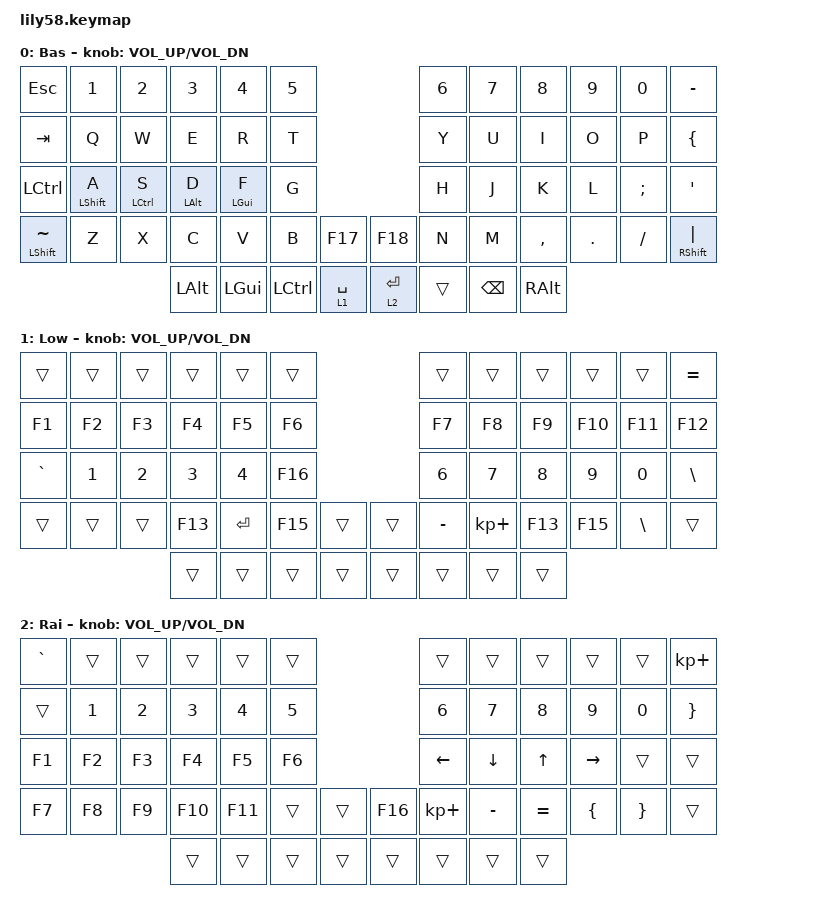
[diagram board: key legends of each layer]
/*
 * Copyright (c) 2020 The ZMK Contributors
 *
 * SPDX-License-Identifier: MIT
 */

#include <behaviors.dtsi>
#include <dt-bindings/zmk/keys.h>
#include <dt-bindings/zmk/bt.h>

/ {
    behaviors {
        // tap = кнопка, hold = слой; idle-защита от случайного hold при наборе
        lt_ht: lt_ht {
            compatible = "zmk,behavior-hold-tap";
            #binding-cells = <2>;
            flavor = "balanced";
            tapping-term-ms = <200>;
            quick-tap-ms = <175>;
            require-prior-idle-ms = <150>;
            bindings = <&mo>, <&kp>;
        };

        // Shift с символом: hold = модификатор (1-й arg), tap = символ (2-й arg).
        // В keymap: `&mt_shft LSHFT TILDE` слева, `&mt_shft RSHFT PIPE` справа.
        // tapping-term=180 — компромисс: solo tap → символ за ≤180ms, ускоренное решение если печатаешь дальше.
        mt_shft: magic_shift {
            compatible = "zmk,behavior-hold-tap";
            #binding-cells = <2>;
            flavor = "balanced";
            tapping-term-ms = <180>;
            quick-tap-ms = <175>;
            bindings = <&kp>, <&kp>;
        };

        // HRM на левой руке. tap = буква, hold = модификатор.
        // Положение QWERTY: A=Shift, S=Ctrl, D=Alt, F=Gui (GACS).
        // Hold срабатывает ТОЛЬКО если парная клавиша на правой половине (positional).
        // require-prior-idle: если только что была нажата другая клавиша — точно tap.
        // tapping-term=240 — подкручено вверх для медленной печати; если ловятся ложные tap'ы вместо hold — поднять до 280.
        hml: homerow_mod_left {
            compatible = "zmk,behavior-hold-tap";
            #binding-cells = <2>;
            flavor = "balanced";
            tapping-term-ms = <240>;
            quick-tap-ms = <175>;
            require-prior-idle-ms = <150>;
            bindings = <&kp>, <&kp>;
            hold-trigger-key-positions = <
                6  7  8  9  10 11
                18 19 20 21 22 23
                30 31 32 33 34 35
                43 44 45 46 47 48 49
                54 55 56 57
            >;
            hold-trigger-on-release;
        };
    };

    keymap {
        compatible = "zmk,keymap";

        default_layer {
// ------------------------------------------------------------------------------------------------------------
// |  ESC  |  1  |  2  |  3   |  4   |  5   |                   |  6   |  7    |  8    |  9   |   0   |   -   |
// |  TAB  |  Q  |  W  |  E   |  R   |  T   |                   |  Y   |  U    |  I    |  O   |   P   |   {   |
// |  CTRL |  A  |  S  |  D   |  F   |  G   |                   |  H   |  J    |  K    |  L   |   ;   |   '   |
// | SHIFT |  Z  |  X  |  C   |  V   |  B   |  F17   |  |  F18  |  N   |  M    |  ,    |  .   |   /   | SHIFT |
//                     | ALT  | GUI  | LOWER|  SPACE |  | ENTER | RAISE| BSPC  | RALT  |
            display-name = "Bas";
            bindings = <
&kp ESC   &kp N1 &kp N2 &kp N3   &kp N4   &kp N5                     &kp N6 &kp N7   &kp N8    &kp N9  &kp N0   &kp MINUS
&kp TAB   &kp Q  &kp W  &kp E    &kp R    &kp T                      &kp Y  &kp U    &kp I     &kp O   &kp P    &kp LBRC
&kp LCTRL &hml LSHFT A &hml LCTRL S &hml LALT D &hml LGUI F &kp G                      &kp H  &kp J    &kp K     &kp L   &kp SEMI &kp SQT
&mt_shft LSHFT TILDE &kp Z &kp X &kp C &kp V &kp B &kp F17    &kp F18 &kp N &kp M &kp COMMA &kp DOT &kp FSLH &mt_shft RSHFT PIPE
                        &kp LALT &kp LGUI &kp LCTRL &lt_ht 1 SPACE  &lt_ht 2 RET  &trans &kp BSPC &kp RALT
            >;

            sensor-bindings = <&inc_dec_kp C_VOL_UP C_VOL_DN>;
        };

        lower_layer {
// ------------------------------------------------------------------------------------------------------------
// |       |     |     |      |      |      |                   |      |       |       |      |       |   =   |
// |  F1   |  F2 |  F3 |  F4  |  F5  |  F6  |                   |  F7  |  F8   |  F9   |  F10 |  F11  |  F12  |
// |   `   |  1  |  2  |  3   |  4   | F16  |                   |  6   |   7   |   8   |  9   |   0   |   \   |
// |       |     |     |  F13 | RET  |  F15 |        |  |       |  -   |   +   |  F13  |  F15 |   \   |       |
//                     |      |      |      |        |  |       |      |       |       |
            display-name = "Low";
            bindings = <
&trans    &trans  &trans  &trans   &trans   &trans                     &trans    &trans       &trans   &trans   &trans   &kp EQUAL
&kp F1    &kp F2  &kp F3  &kp F4   &kp F5   &kp F6                     &kp F7    &kp F8       &kp F9   &kp F10  &kp F11  &kp F12
&kp GRAVE &kp N1  &kp N2  &kp N3   &kp N4   &kp F16                    &kp N6    &kp N7       &kp N8   &kp N9   &kp N0   &kp BSLH
&trans    &trans  &trans  &kp F13  &kp RET  &kp F15  &trans   &trans   &kp MINUS &kp KP_PLUS  &kp F13  &kp F15  &kp BSLH &trans
                          &trans   &trans   &trans   &trans   &trans   &trans    &trans       &trans
            >;

            sensor-bindings = <&inc_dec_kp C_VOL_UP C_VOL_DN>;
        };

        raise_layer {
// ------------------------------------------------------------------------------------------------------------
// |   `   |EP_OFF|EP_ON |      |      |      |                   |      |       |       |      |       |   +   |
// |       |  1  |  2   |  3   |  4   |  5   |                   |  6   |   7   |   8   |  9   |   0   |   }   |
// |  F1   |  F2 |  F3  |  F4  |  F5  |  F6  |                   |  <-  |   v   |   ^   |  ->  |       |       |
// |  F7   |  F8 |  F9  |  F10 |  F11 |      |        |  |  F16  |  +   |   -   |   =   |  {   |   }   |       |
//                      |      |      |      |        |  |       |      |       |       |
            display-name = "Rai";
            bindings = <
&kp GRAVE &trans &trans           &trans  &trans  &trans            &trans      &trans    &trans    &trans   &trans   &kp KP_PLUS
&trans    &kp N1  &kp N2  &kp N3   &kp N4   &kp N5                            &kp N6      &kp N7    &kp N8    &kp N9   &kp N0   &kp RBRC
&kp F1    &kp F2  &kp F3  &kp F4   &kp F5   &kp F6                            &kp LEFT    &kp DOWN  &kp UP    &kp RIGHT &trans  &trans
&kp F7    &kp F8  &kp F9  &kp F10  &kp F11  &trans   &trans   &kp F16         &kp KP_PLUS &kp MINUS &kp EQUAL &kp LBRC &kp RBRC &trans
                          &trans   &trans   &trans   &trans   &trans           &trans      &trans    &trans
            >;

            sensor-bindings = <&inc_dec_kp C_VOL_UP C_VOL_DN>;
        };

        extra_1 {
            status = "reserved";
        };

        extra_2 {
            status = "reserved";
        };

        extra_3 {
            status = "reserved";
        };
    };
};
